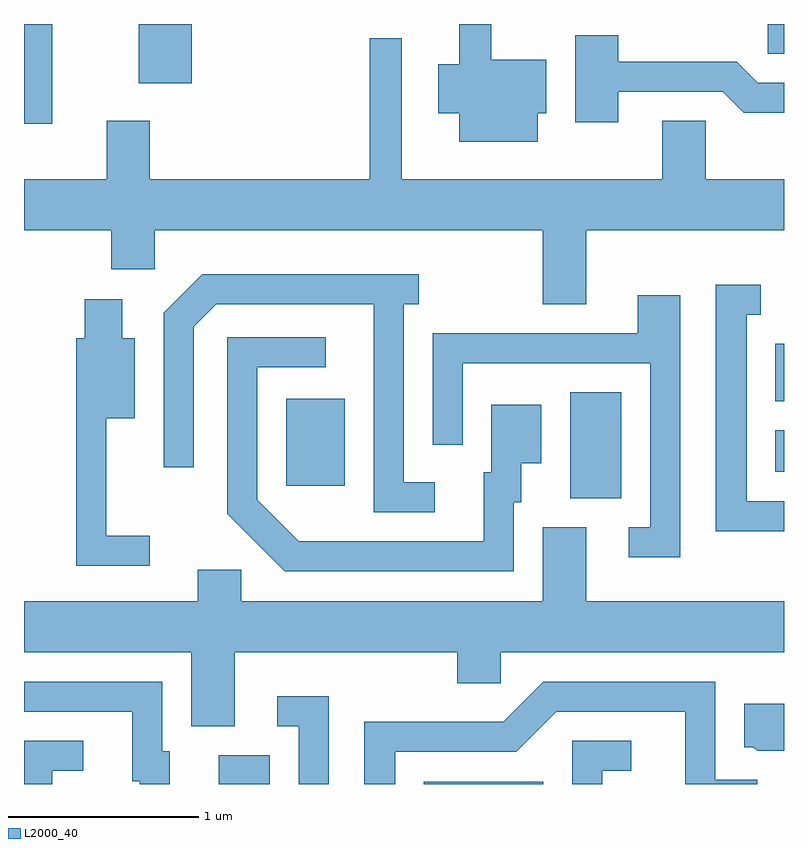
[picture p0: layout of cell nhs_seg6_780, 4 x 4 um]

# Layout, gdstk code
import gdstk
lib = gdstk.Library(unit=1e-6, precision=1e-09)
def R(c, l, rs):  # rectangles x0, y0, x1, y1
    for r in rs: c.add(gdstk.rectangle(r[:2], r[2:], *l))
def P(c, l, *ps):  # polygons
    for p in ps: c.add(gdstk.Polygon(p, *l))
L2000_40 = (2000, 40)

nhs_seg6_780 = lib.new_cell('nhs_seg6_780')
R(nhs_seg6_780, L2000_40, [(208.636,1618.162,208.904,1618.314), (209.716,1618.162,210.344,1618.174), (210.486,1619.666,210.754,1620.224), (208.991,1619.731,209.299,1620.189), (211.566,1619.806,211.611,1620.024), (211.566,1620.176,211.611,1620.479), (207.611,1621.636,207.759,1622.162), (208.216,1621.851,208.494,1622.162), (211.526,1622.006,211.611,1622.162)])
P(nhs_seg6_780, L2000_40, [(210.314,1621.691),(210.359,1621.691),(210.359,1621.974),(210.069,1621.974),(210.069,1622.162),(209.901,1622.162),(209.901,1621.949),(209.791,1621.949),(209.791,1621.691),(209.901,1621.691),(209.901,1621.541),(210.314,1621.541)],
  [(210.739,1621.806),(211.289,1621.806),(211.399,1621.696),(211.611,1621.696),(211.611,1621.854),(211.472,1621.854),(211.362,1621.964),(210.739,1621.964),(210.739,1622.104),(210.511,1622.104),(210.511,1621.646),(210.739,1621.646)],
  [(210.569,1621.076),(211.611,1621.076),(211.611,1621.344),(211.199,1621.344),(211.199,1621.654),(210.971,1621.654),(210.971,1621.344),(209.599,1621.344),(209.599,1622.088),(209.431,1622.088),(209.431,1621.344),(208.274,1621.344),(208.274,1621.654),(208.046,1621.654),(208.046,1621.344),(207.611,1621.344),(207.611,1621.076),(208.071,1621.076),(208.071,1620.871),(208.299,1620.871),(208.299,1621.076),(210.341,1621.076),(210.341,1620.686),(210.569,1620.686)],
  [(209.773,1619.749),(209.609,1619.749),(209.609,1620.686),(209.688,1620.686),(209.688,1620.844),(208.549,1620.844),(208.346,1620.642),(208.346,1619.828),(208.504,1619.828),(208.504,1620.569),(208.622,1620.686),(209.451,1620.686),(209.451,1619.591),(209.773,1619.591)],
  [(211.611,1619.649),(211.414,1619.649),(211.414,1620.631),(211.488,1620.631),(211.488,1620.789),(211.251,1620.789),(211.251,1619.491),(211.611,1619.491)],
  [(211.064,1620.734),(210.841,1620.734),(210.841,1620.534),(209.761,1620.534),(209.761,1619.948),(209.919,1619.948),(209.919,1620.376),(210.906,1620.376),(210.906,1619.514),(210.793,1619.514),(210.793,1619.356),(211.064,1619.356)],
  [(208.273,1619.469),(208.044,1619.469),(208.044,1620.086),(208.194,1620.086),(208.194,1620.509),(208.129,1620.509),(208.129,1620.714),(207.931,1620.714),(207.931,1620.509),(207.886,1620.509),(207.886,1619.311),(208.273,1619.311)],
  [(210.189,1619.646),(210.229,1619.646),(210.229,1619.851),(210.334,1619.851),(210.334,1620.159),(210.071,1620.159),(210.071,1619.804),(210.031,1619.804),(210.031,1619.439),(209.057,1619.439),(208.839,1619.657),(208.839,1620.356),(209.198,1620.356),(209.198,1620.514),(208.681,1620.514),(208.681,1619.584),(208.984,1619.281),(210.189,1619.281)],
  [(208.719,1618.856),(209.891,1618.856),(209.891,1618.691),(210.119,1618.691),(210.119,1618.856),(211.611,1618.856),(211.611,1619.124),(210.569,1619.124),(210.569,1619.514),(210.341,1619.514),(210.341,1619.124),(208.754,1619.124),(208.754,1619.289),(208.526,1619.289),(208.526,1619.124),(207.611,1619.124),(207.611,1618.856),(208.491,1618.856),(208.491,1618.466),(208.719,1618.466)],
  [(208.379,1618.334),(208.339,1618.334),(208.339,1618.699),(207.611,1618.699),(207.611,1618.541),(208.181,1618.541),(208.181,1618.176),(208.221,1618.176),(208.221,1618.162),(208.379,1618.162)],
  [(209.564,1618.331),(210.202,1618.331),(210.412,1618.541),(211.091,1618.541),(211.091,1618.162),(211.469,1618.162),(211.469,1618.184),(211.249,1618.184),(211.249,1618.699),(210.344,1618.699),(210.134,1618.489),(209.401,1618.489),(209.401,1618.162),(209.564,1618.162)],
  [(209.214,1618.624),(208.943,1618.624),(208.943,1618.466),(209.056,1618.466),(209.056,1618.162),(209.214,1618.162)],
  [(211.611,1618.584),(211.401,1618.584),(211.401,1618.356),(211.449,1618.356),(211.469,1618.336),(211.611,1618.336)],
  [(210.654,1618.231),(210.808,1618.231),(210.808,1618.389),(210.496,1618.389),(210.496,1618.162),(210.654,1618.162)],
  [(207.759,1618.231),(207.923,1618.231),(207.923,1618.389),(207.611,1618.389),(207.611,1618.162),(207.759,1618.162)])

lib.write_gds('nhs_seg6_780.gds')
